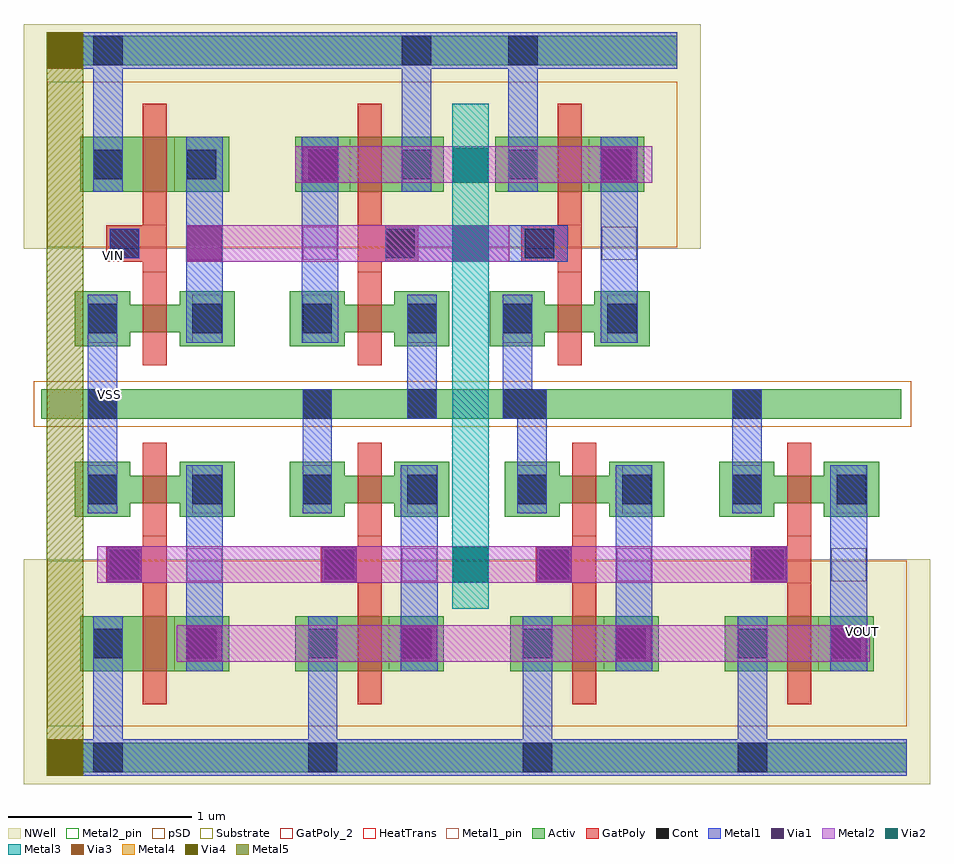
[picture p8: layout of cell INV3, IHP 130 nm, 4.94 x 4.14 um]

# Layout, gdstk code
from math import pi, radians
import gdstk
lib = gdstk.Library(unit=1e-6, precision=5e-09)
def R(c, l, rs):  # rectangles x0, y0, x1, y1
    for r in rs: c.add(gdstk.rectangle(r[:2], r[2:], *l))
def A(c, l, x, y, w, h, nx, ny, dx, dy):  # array of equal rectangles
    R(c, l, [(x+i*dx, y+j*dy, x+i*dx+w, y+j*dy+h) for i in range(nx) for j in range(ny)])
Activ = (1, 0)
GatPoly = (5, 0)
GatPoly_2 = (5, 2)
Cont = (6, 0)
Metal1 = (8, 0)
Metal1_pin = (8, 2)
Metal2 = (10, 0)
Metal2_pin = (10, 2)
pSD = (14, 0)
Via1 = (19, 0)
Via2 = (29, 0)
Metal3 = (30, 0)
NWell = (31, 0)
Substrate = (40, 0)
Via3 = (49, 0)
Metal4 = (50, 0)
HeatTrans = (51, 0)
Via4 = (66, 0)
Metal5 = (67, 0)

nmos_7 = lib.new_cell('nmos$7')
R(nmos_7, Activ, [(0,-0.05,0.3,0.25), (0.57,-0.05,0.87,0.25), (0,0.025,0.87,0.175)])
R(nmos_7, GatPoly, [(0.37,-0.155,0.5,0.355)])
R(nmos_7, GatPoly_2, [(0.37,-0.155,0.5,0.355)])
R(nmos_7, Cont, [(0.07,0.02,0.23,0.18), (0.64,0.02,0.8,0.18)])
R(nmos_7, Metal1, [(0.07,-0.03,0.23,0.23), (0.64,-0.03,0.8,0.23)])
R(nmos_7, Metal1_pin, [(0.07,-0.03,0.23,0.23), (0.64,-0.03,0.8,0.23)])
R(nmos_7, HeatTrans, [(0.37,-0.155,0.5,0.355)])
nmos_7.add(gdstk.Label('nmos', (0.435,0.1), layer=63, texttype=0))
nmos_7.add(gdstk.Label('nmos', (0.435,0.1), layer=51, texttype=0))

pmos_1_2 = lib.new_cell('pmos$1$2')
R(pmos_1_2, Activ, [(0,0,0.3,0.3), (0,0,0.81,0.3), (0.51,0,0.81,0.3)])
R(pmos_1_2, GatPoly, [(0.34,-0.18,0.47,0.48), (0.34,-0.18,0.47,0.48)])
R(pmos_1_2, Cont, [(0.07,0.07,0.23,0.23), (0.58,0.07,0.74,0.23)])
R(pmos_1_2, Metal1, [(0.07,0,0.23,0.3), (0.07,0,0.23,0.3), (0.58,0,0.74,0.3), (0.58,0,0.74,0.3)])
R(pmos_1_2, pSD, [(-0.18,-0.3,0.99,0.6)])
R(pmos_1_2, NWell, [(-0.31,-0.31,1.12,0.61)])
R(pmos_1_2, Substrate, [(0.51,0,0.81,0.3)])
R(pmos_1_2, HeatTrans, [(0.34,-0.18,0.47,0.48)])
pmos_1_2.add(gdstk.Label('pmos', (0.405,0.15), layer=63, texttype=0))
pmos_1_2.add(gdstk.Label('pmos', (0.405,0.15), layer=51, texttype=0))

inv_d1_2 = lib.new_cell('INV_D1$2')
R(inv_d1_2, Activ, [(-0.63,-1.05,0.545,-0.89), (-0.6,0.875,0.575,1.035)])
R(inv_d1_2, GatPoly, [(-0.075,-0.25,0.055,0.005), (-0.275,-0.195,-0.075,0.005)])
R(inv_d1_2, Cont, [(-0.375,-1.05,-0.215,-0.89), (-0.255,-0.175,-0.095,-0.015), (-0.345,0.875,-0.185,1.035)])
R(inv_d1_2, Metal1, [(-0.375,-1.05,-0.215,-0.635), (0.16,-0.635,0.36,0.485), (-0.255,-0.175,-0.095,-0.015), (-0.345,0.485,-0.185,1.035), (-0.6,0.875,0.575,1.035)])
R(inv_d1_2, Metal1_pin, [(-0.375,-1.05,-0.215,-0.89), (0.165,-0.185,0.355,-0.005), (-0.255,-0.175,-0.095,-0.015), (-0.345,0.875,-0.185,1.035)])
R(inv_d1_2, pSD, [(-0.67,-1.095,0.6,-0.845)])
R(inv_d1_2, NWell, [(-0.725,0.795,0.705,1.1)])
inv_d1_2.add(gdstk.Reference(nmos_7, (-0.445,-0.605)))
inv_d1_2.add(gdstk.Reference(pmos_1_2, (-0.415,0.185)))
inv_d1_2.add(gdstk.Label('VIN', (-0.145,-0.035), layer=8, texttype=2))
inv_d1_2.add(gdstk.Label('VSS', (-0.26,-0.915), layer=8, texttype=2))
inv_d1_2.add(gdstk.Label('VOUT', (0.305,-0.06), layer=8, texttype=2))

c_x1 = lib.new_cell('x1')
c_x1.add(gdstk.Reference(inv_d1_2, (-0.605,0.11), rotation=pi, x_reflection=True))
c_x1.add(gdstk.Reference(inv_d1_2, (0.505,0.11)))

c_x2 = lib.new_cell('x2')
c_x2.add(gdstk.Reference(inv_d1_2, (-0.02,0.03)))

c_x3 = lib.new_cell('x3')
r = gdstk.Reference(inv_d1_2, (0.405,2.51)); r.repetition = gdstk.Repetition(4, 1, v1=(1.17,0), v2=(0,0)); c_x3.add(r)

gro_routings_stack_m1_m4 = lib.new_cell('GRO_routings_Stack_M1_M4')
R(gro_routings_stack_m1_m4, Metal1, [(0,0,0.2,0.2)])
R(gro_routings_stack_m1_m4, Metal2, [(0,0,0.2,0.2)])
R(gro_routings_stack_m1_m4, Via1, [(0.005,0.005,0.195,0.195)])
R(gro_routings_stack_m1_m4, Via2, [(0.005,0.005,0.195,0.195)])
R(gro_routings_stack_m1_m4, Metal3, [(0,0,0.2,0.2)])
R(gro_routings_stack_m1_m4, Via3, [(0.005,0.005,0.195,0.195)])

inv3 = lib.new_cell('INV3')
R(inv3, Metal1, [(-1.05,-2.52,3.635,-2.32), (0.795,0.28,1.79,0.48), (-1.05,1.33,2.385,1.53)])
R(inv3, Metal1_pin, [(-1.05,-2.5,-0.895,-2.34), (-1.05,-2.5,-0.895,-2.34), (-0.825,-0.575,-0.665,-0.415), (0.345,0.72,0.535,0.9), (1.975,0.725,2.165,0.905), (1.975,0.725,2.165,0.905), (-1.05,1.35,-0.895,1.51)])
R(inv3, Metal2, [(-0.34,-1.9,3.435,-1.7), (-0.775,-1.47,2.985,-1.27), (-0.285,0.28,1.47,0.48), (0.305,0.71,2.25,0.91)])
R(inv3, Metal2_pin, [(3.29,-1.9,3.435,-1.7)])
A(inv3, Via1, -0.285, -1.895, 0.19, 0.19, 4, 1, 1.17, 0)
A(inv3, Via1, -0.72, -1.465, 0.19, 0.19, 4, 1, 1.17, 0)
R(inv3, Via1, [(-0.285,0.285,-0.095,0.475), (1.165,0.285,1.355,0.475), (0.345,0.715,0.535,0.905), (1.975,0.715,2.165,0.905), (1.975,0.715,2.165,0.905)])
R(inv3, Via2, [(1.165,-1.465,1.355,-1.275), (1.165,0.71,1.355,0.9)])
R(inv3, Metal3, [(1.16,-1.61,1.36,1.14)])
R(inv3, Metal4, [(-1.05,-2.52,-0.85,-2.32), (-1.05,1.33,-0.85,1.53)])
R(inv3, Via4, [(-1.045,-2.515,-0.855,-2.325), (-1.045,1.335,-0.855,1.525)])
R(inv3, Metal5, [(-1.05,-2.52,-0.85,1.53)])
inv3.add(gdstk.Reference(c_x1, (1.305,0.365)))
inv3.add(gdstk.Reference(c_x2, (-0.43,0.445)))
inv3.add(gdstk.Reference(c_x3, (-0.855,1.045), x_reflection=True))
inv3.add(gdstk.Reference(gro_routings_stack_m1_m4, (-1.05,1.33)))
inv3.add(gdstk.Reference(gro_routings_stack_m1_m4, (-1.05,-2.52)))
inv3.add(gdstk.Label('VSS', (-0.705,-0.445), layer=8, texttype=2))
inv3.add(gdstk.Label('VIN', (-0.685,0.315), layer=8, texttype=2))
inv3.add(gdstk.Label('VOUT', (3.395,-1.735), layer=10, texttype=2))

lib.write_gds('INV3.gds')
